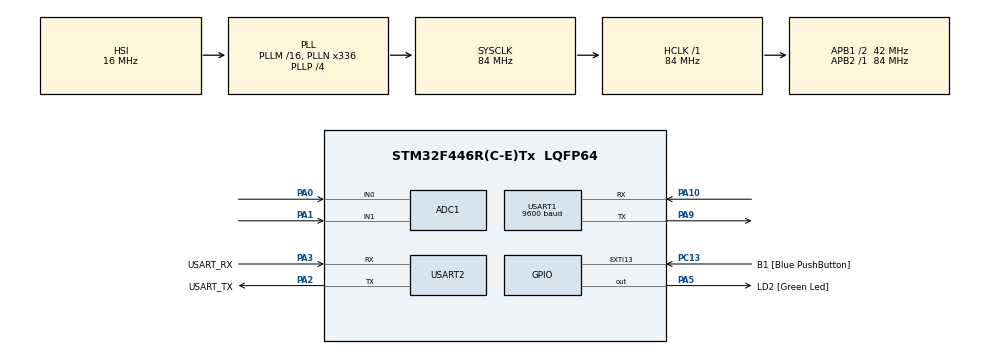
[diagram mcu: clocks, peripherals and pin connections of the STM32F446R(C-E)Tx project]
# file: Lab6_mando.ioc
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ADC1.Channel-0\#ChannelRegularConversion=ADC_CHANNEL_0
ADC1.Channel-1\#ChannelRegularConversion=ADC_CHANNEL_1
ADC1.ContinuousConvMode=ENABLE
ADC1.DMAContinuousRequests=ENABLE
ADC1.NbrOfConversion=2
ADC1.NbrOfConversionFlag=1
ADC1.Rank-0\#ChannelRegularConversion=1
ADC1.Rank-1\#ChannelRegularConversion=2
ADC1.SamplingTime-0\#ChannelRegularConversion=ADC_SAMPLETIME_56CYCLES
ADC1.SamplingTime-1\#ChannelRegularConversion=ADC_SAMPLETIME_56CYCLES
ADC1.ScanConvMode=ENABLE
ADC1.master=1
Dma.ADC1.0.Direction=DMA_PERIPH_TO_MEMORY
Dma.ADC1.0.FIFOMode=DMA_FIFOMODE_DISABLE
Dma.ADC1.0.Instance=DMA2_Stream0
Dma.ADC1.0.MemDataAlignment=DMA_MDATAALIGN_HALFWORD
Dma.ADC1.0.MemInc=DMA_MINC_ENABLE
Dma.ADC1.0.Mode=DMA_CIRCULAR
Dma.ADC1.0.PeriphDataAlignment=DMA_PDATAALIGN_HALFWORD
Dma.ADC1.0.PeriphInc=DMA_PINC_DISABLE
Dma.ADC1.0.Priority=DMA_PRIORITY_LOW
Dma.Request0=ADC1
Mcu.Family=STM32F4
Mcu.Name=STM32F446R(C-E)Tx
Mcu.Package=LQFP64
NVIC.DMA2_Stream0_IRQn=true\:0\:0\:false\:false\:true\:false\:true\:true
NVIC.PriorityGroup=NVIC_PRIORITYGROUP_0
NVIC.USART1_IRQn=true\:0\:0\:false\:false\:true\:true\:true\:true
PA0-WKUP.Signal=ADCx_IN0
PA1.Signal=ADCx_IN1
PA10.Mode=Asynchronous
PA10.Signal=USART1_RX
PA13.GPIO_Label=TMS
PA13.Signal=SYS_JTMS-SWDIO
PA14.GPIO_Label=TCK
PA14.Signal=SYS_JTCK-SWCLK
PA2.GPIO_Label=USART_TX
PA2.Mode=Asynchronous
PA2.Signal=USART2_TX
PA3.GPIO_Label=USART_RX
PA3.Mode=Asynchronous
PA3.Signal=USART2_RX
PA5.GPIO_Label=LD2 [Green Led]
PA5.Signal=GPIO_Output
PA9.Mode=Asynchronous
PA9.Signal=USART1_TX
PB3.GPIO_Label=SWO
PB3.Signal=SYS_JTDO-SWO
PC13.GPIO_Label=B1 [Blue PushButton]
PC13.GPIO_ModeDefaultEXTI=GPIO_MODE_IT_FALLING
PC13.Signal=GPXTI13
PC14-OSC32_IN.Signal=RCC_OSC32_IN
PC15-OSC32_OUT.Signal=RCC_OSC32_OUT
PH0-OSC_IN.Signal=RCC_OSC_IN
PH1-OSC_OUT.Signal=RCC_OSC_OUT
ProjectManager.HeapSize=0x200
ProjectManager.StackSize=0x400
ProjectManager.TargetToolchain=STM32CubeIDE
RCC.AHBFreq_Value=84000000
RCC.APB1CLKDivider=RCC_HCLK_DIV2
RCC.APB1Freq_Value=42000000
RCC.APB1TimFreq_Value=84000000
RCC.APB2Freq_Value=84000000
RCC.APB2TimFreq_Value=84000000
RCC.CortexFreq_Value=84000000
RCC.FLatency-AdvancedSettings=FLASH_LATENCY_2
RCC.HCLKFreq_Value=84000000
RCC.HSE_VALUE=8000000
RCC.HSI_VALUE=16000000
RCC.LSE_VALUE=32768
RCC.PLLN=336
RCC.PLLP=RCC_PLLP_DIV4
RCC.SYSCLKFreq_VALUE=84000000
RCC.SYSCLKSource=RCC_SYSCLKSOURCE_PLLCLK
RCC.USBFreq_Value=168000000
RCC.VCOOutputFreq_Value=336000000
SH.ADCx_IN0.0=ADC1_IN0,IN0
SH.ADCx_IN1.0=ADC1_IN1,IN1
USART1.BaudRate=9600
USART1.VirtualMode=VM_ASYNC
USART2.VirtualMode=VM_ASYNC
board=NUCLEO-F446RE

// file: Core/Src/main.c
/* USER CODE BEGIN Header */
/**
  ******************************************************************************
  * @file           : main.c
  * @brief          : Consola Optimizada sin retardos (Lab 6)
  ******************************************************************************
  */
/* USER CODE END Header */
#include "main.h"

/* USER CODE BEGIN Includes */
#include <stdio.h>
#include <string.h>
/* USER CODE END Includes */

/* USER CODE BEGIN PTD */
typedef enum { CENTRO_Y, ARRIBA, ABAJO } EstadoY_t;
typedef enum { CENTRO_X, DERECHA, IZQUIERDA } EstadoX_t;
/* USER CODE END PTD */

/* USER CODE BEGIN PD */
#define UMBRAL_ALTO   2500
#define UMBRAL_BAJO   1600
/* USER CODE END PD */

ADC_HandleTypeDef hadc1;
DMA_HandleTypeDef hdma_adc1;

UART_HandleTypeDef huart1;
UART_HandleTypeDef huart2;

/* USER CODE BEGIN PV */
// BUFFER ADC CON DMA
uint16_t adc_buffer[2] = {0, 0};
EstadoY_t estado_y_prev = CENTRO_Y;
EstadoX_t estado_x_prev = CENTRO_X;

// BYTE DE RECEPCION DIRECTA UART
uint8_t rx_byte = 0;

// TEMPORIZADOR NO BLOQUEANTE PARA POTENCIOMETROS
uint32_t tiempo_anterior_adc = 0;
/* USER CODE END PV */

void SystemClock_Config(void);
static void MX_GPIO_Init(void);
static void MX_DMA_Init(void);
static void MX_ADC1_Init(void);
static void MX_USART1_UART_Init(void);
static void MX_USART2_UART_Init(void);
/* USER CODE BEGIN PFP */
void UART_Print(const char *mensaje);
/* USER CODE END PFP */

int main(void)
{

  /* MCU Configuration--------------------------------------------------------*/

  /* Reset of all peripherals, Initializes the Flash interface and the Systick. */
  HAL_Init();

  /* Configure the system clock */
  SystemClock_Config();

  /* Initialize all configured peripherals */
  MX_GPIO_Init();
  MX_DMA_Init();
  MX_ADC1_Init();
  MX_USART1_UART_Init();
  MX_USART2_UART_Init();

  /* USER CODE BEGIN 2 */
  HAL_GPIO_WritePin(LD2_GPIO_Port, LD2_Pin, GPIO_PIN_SET);

  // CONFIGURAR PRIORIDAD ALTA PARA LA INTERRUPCION UART1
  HAL_NVIC_SetPriority(USART1_IRQn, 1, 0);
  HAL_NVIC_EnableIRQ(USART1_IRQn);

  // INICIAR RECEPCION POR INTERRUPCION EN USART1
  HAL_UART_Receive_IT(&huart1, &rx_byte, 1);

  // INICIAR ADC CON DMA CONTINUO
  HAL_NVIC_DisableIRQ(DMA2_Stream0_IRQn);
  if (hadc1.DMA_Handle == NULL) {
    __HAL_LINKDMA(&hadc1, DMA_Handle, hdma_adc1);
  }
  HAL_ADC_Start_DMA(&hadc1, (uint32_t*)adc_buffer, 2);

  // MENSAJE INICIAL
  UART_Print("\r\nSISTEMA OPTIMIZADO - RESPUESTA INMEDIATA\r\n\r\n");
  /* USER CODE END 2 */

  /* Infinite loop */
  /* USER CODE BEGIN WHILE */
  while (1)
  {
    // LECTURA DE POTENCIOMETROS CADA 15 MS SIN BLOQUEAR LA CPU
    if ((HAL_GetTick() - tiempo_anterior_adc) >= 15)
    {
      tiempo_anterior_adc = HAL_GetTick();

      uint16_t pot1_y = adc_buffer[0];
      uint16_t pot2_x = adc_buffer[1];

      // CONTROL 1: EJE Y
      if (pot1_y > UMBRAL_ALTO) {
        if (estado_y_prev != ARRIBA) {
          UART_Print("Control 1: Arriba\r\n");
          estado_y_prev = ARRIBA;
        }
      }
      else if (pot1_y < UMBRAL_BAJO) {
        if (estado_y_prev != ABAJO) {
          UART_Print("Control 1: Abajo\r\n");
          estado_y_prev = ABAJO;
        }
      }
      else {
        estado_y_prev = CENTRO_Y;
      }

      // CONTROL 1: EJE X
      if (pot2_x > UMBRAL_ALTO) {
        if (estado_x_prev != DERECHA) {
          UART_Print("Control 1: Derecha\r\n");
          estado_x_prev = DERECHA;
        }
      }
      else if (pot2_x < UMBRAL_BAJO) {
        if (estado_x_prev != IZQUIERDA) {
          UART_Print("Control 1: Izquierda\r\n");
          estado_x_prev = IZQUIERDA;
        }
      }
      else {
        estado_x_prev = CENTRO_X;
      }
    }
    /* USER CODE END WHILE */

  }
}

void SystemClock_Config(void)
{
  RCC_OscInitTypeDef RCC_OscInitStruct = {0};
  RCC_ClkInitTypeDef RCC_ClkInitStruct = {0};

  __HAL_RCC_PWR_CLK_ENABLE();
  __HAL_PWR_VOLTAGESCALING_CONFIG(PWR_REGULATOR_VOLTAGE_SCALE3);

  RCC_OscInitStruct.OscillatorType = RCC_OSCILLATORTYPE_HSI;
  RCC_OscInitStruct.HSIState = RCC_HSI_ON;
  RCC_OscInitStruct.HSICalibrationValue = RCC_HSICALIBRATION_DEFAULT;
  RCC_OscInitStruct.PLL.PLLState = RCC_PLL_ON;
  RCC_OscInitStruct.PLL.PLLSource = RCC_PLLSOURCE_HSI;
  RCC_OscInitStruct.PLL.PLLM = 16;
  RCC_OscInitStruct.PLL.PLLN = 336;
  RCC_OscInitStruct.PLL.PLLP = RCC_PLLP_DIV4;
  RCC_OscInitStruct.PLL.PLLQ = 2;
  RCC_OscInitStruct.PLL.PLLR = 2;
  if (HAL_RCC_OscConfig(&RCC_OscInitStruct) != HAL_OK)
  {
    Error_Handler();
  }

  RCC_ClkInitStruct.ClockType = RCC_CLOCKTYPE_HCLK|RCC_CLOCKTYPE_SYSCLK
                              |RCC_CLOCKTYPE_PCLK1|RCC_CLOCKTYPE_PCLK2;
  RCC_ClkInitStruct.SYSCLKSource = RCC_SYSCLKSOURCE_PLLCLK;
  RCC_ClkInitStruct.AHBCLKDivider = RCC_SYSCLK_DIV1;
  RCC_ClkInitStruct.APB1CLKDivider = RCC_HCLK_DIV2;
  RCC_ClkInitStruct.APB2CLKDivider = RCC_HCLK_DIV1;

  if (HAL_RCC_ClockConfig(&RCC_ClkInitStruct, FLASH_LATENCY_2) != HAL_OK)
  {
    Error_Handler();
  }
}

static void MX_ADC1_Init(void)
{
  ADC_ChannelConfTypeDef sConfig = {0};

  hadc1.Instance = ADC1;
  hadc1.Init.ClockPrescaler = ADC_CLOCK_SYNC_PCLK_DIV4;
  hadc1.Init.Resolution = ADC_RESOLUTION_12B;
  hadc1.Init.ScanConvMode = ENABLE;
  hadc1.Init.ContinuousConvMode = ENABLE;
  hadc1.Init.DiscontinuousConvMode = DISABLE;
  hadc1.Init.ExternalTrigConvEdge = ADC_EXTERNALTRIGCONVEDGE_NONE;
  hadc1.Init.ExternalTrigConv = ADC_SOFTWARE_START;
  hadc1.Init.DataAlign = ADC_DATAALIGN_RIGHT;
  hadc1.Init.NbrOfConversion = 2;
  hadc1.Init.DMAContinuousRequests = ENABLE;
  hadc1.Init.EOCSelection = ADC_EOC_SINGLE_CONV;
  if (HAL_ADC_Init(&hadc1) != HAL_OK)
  {
    Error_Handler();
  }

  sConfig.Channel = ADC_CHANNEL_0;
  sConfig.Rank = 1;
  sConfig.SamplingTime = ADC_SAMPLETIME_56CYCLES;
  if (HAL_ADC_ConfigChannel(&hadc1, &sConfig) != HAL_OK)
  {
    Error_Handler();
  }

  sConfig.Channel = ADC_CHANNEL_1;
  sConfig.Rank = 2;
  if (HAL_ADC_ConfigChannel(&hadc1, &sConfig) != HAL_OK)
  {
    Error_Handler();
  }
}

static void MX_USART1_UART_Init(void)
{
  huart1.Instance = USART1;
  huart1.Init.BaudRate = 9600;
  huart1.Init.WordLength = UART_WORDLENGTH_8B;
  huart1.Init.StopBits = UART_STOPBITS_1;
  huart1.Init.Parity = UART_PARITY_NONE;
  huart1.Init.Mode = UART_MODE_TX_RX;
  huart1.Init.HwFlowCtl = UART_HWCONTROL_NONE;
  huart1.Init.OverSampling = UART_OVERSAMPLING_16;
  if (HAL_UART_Init(&huart1) != HAL_OK)
  {
    Error_Handler();
  }
}

static void MX_USART2_UART_Init(void)
{
  huart2.Instance = USART2;
  huart2.Init.BaudRate = 115200;
  huart2.Init.WordLength = UART_WORDLENGTH_8B;
  huart2.Init.StopBits = UART_STOPBITS_1;
  huart2.Init.Parity = UART_PARITY_NONE;
  huart2.Init.Mode = UART_MODE_TX_RX;
  huart2.Init.HwFlowCtl = UART_HWCONTROL_NONE;
  huart2.Init.OverSampling = UART_OVERSAMPLING_16;
  if (HAL_UART_Init(&huart2) != HAL_OK)
  {
    Error_Handler();
  }
}

static void MX_DMA_Init(void)
{
  __HAL_RCC_DMA2_CLK_ENABLE();
  HAL_NVIC_SetPriority(DMA2_Stream0_IRQn, 0, 0);
  HAL_NVIC_EnableIRQ(DMA2_Stream0_IRQn);
}

static void MX_GPIO_Init(void)
{
  GPIO_InitTypeDef GPIO_InitStruct = {0};

  __HAL_RCC_GPIOC_CLK_ENABLE();
  __HAL_RCC_GPIOH_CLK_ENABLE();
  __HAL_RCC_GPIOA_CLK_ENABLE();
  __HAL_RCC_GPIOB_CLK_ENABLE();

  HAL_GPIO_WritePin(LD2_GPIO_Port, LD2_Pin, GPIO_PIN_RESET);

  GPIO_InitStruct.Pin = B1_Pin;
  GPIO_InitStruct.Mode = GPIO_MODE_IT_FALLING;
  GPIO_InitStruct.Pull = GPIO_NOPULL;
  HAL_GPIO_Init(B1_GPIO_Port, &GPIO_InitStruct);

  GPIO_InitStruct.Pin = LD2_Pin;
  GPIO_InitStruct.Mode = GPIO_MODE_OUTPUT_PP;
  GPIO_InitStruct.Pull = GPIO_NOPULL;
  GPIO_InitStruct.Speed = GPIO_SPEED_FREQ_LOW;
  HAL_GPIO_Init(LD2_GPIO_Port, &GPIO_InitStruct);
}

/* USER CODE BEGIN 4 */
// TRANSMISION A TERMINAL SERIAL
void UART_Print(const char *mensaje)
{
  HAL_UART_Transmit(&huart2, (uint8_t*)mensaje, strlen(mensaje), 50);
}

// ATENCION DIRECTA EN INTERRUPCION SIN PASAR POR EL WHILE
void HAL_UART_RxCpltCallback(UART_HandleTypeDef *huart)
{
  if (huart->Instance == USART1)
  {
    switch (rx_byte)
    {
      case 'U': UART_Print("Control 2: Arriba\r\n");    break;
      case 'D': UART_Print("Control 2: Abajo\r\n");     break;
      case 'L': UART_Print("Control 2: Izquierda\r\n"); break;
      case 'R': UART_Print("Control 2: Derecha\r\n");   break;
      case 'A': UART_Print("Control 2: A\r\n");         break;
      case 'B': UART_Print("Control 2: B\r\n");         break;
      default:  break;
    }

    // REACTIVAR LA INTERRUPCION DE INMEDIATO
    HAL_UART_Receive_IT(&huart1, &rx_byte, 1);
  }
}

// AUTORRECUPERACION ANTE RUIDO EN LINEA SERIAL
void HAL_UART_ErrorCallback(UART_HandleTypeDef *huart)
{
  if (huart->Instance == USART1)
  {
    __HAL_UART_CLEAR_OREFLAG(huart);
    __HAL_UART_CLEAR_NEFLAG(huart);
    __HAL_UART_CLEAR_FEFLAG(huart);
    __HAL_UART_CLEAR_PEFLAG(huart);
    huart->ErrorCode = HAL_UART_ERROR_NONE;
    HAL_UART_Receive_IT(&huart1, &rx_byte, 1);
  }
}
/* USER CODE END 4 */

void Error_Handler(void)
{
  __disable_irq();
  while (1)
  {
  }
}
